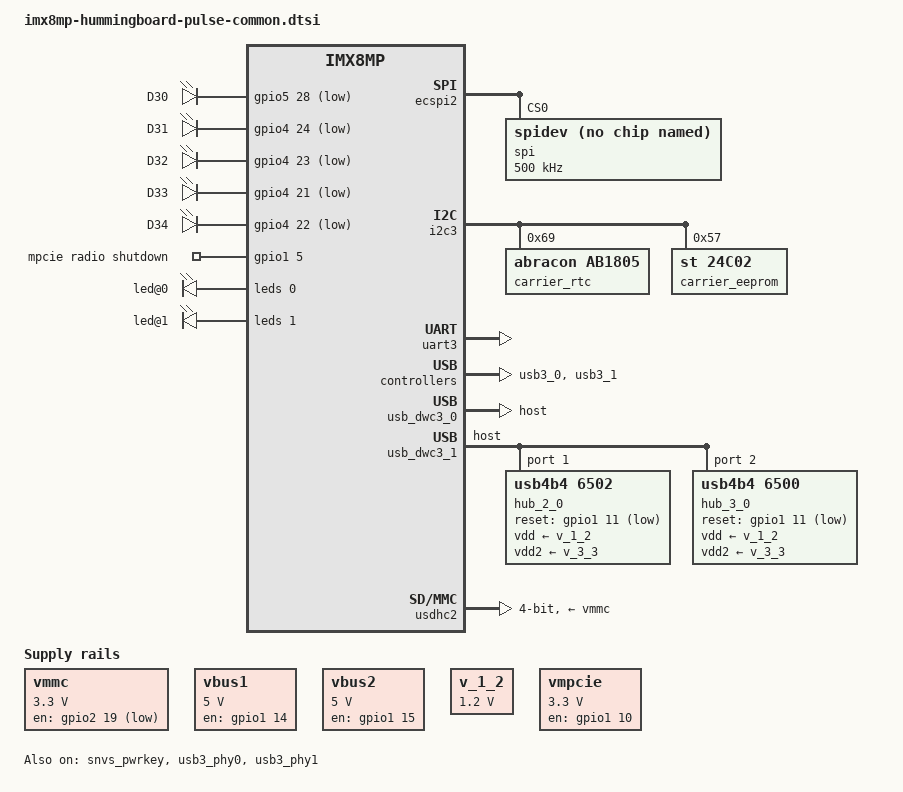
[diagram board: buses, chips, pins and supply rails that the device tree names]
// SPDX-License-Identifier: (GPL-2.0+ OR MIT)
/*
 * Copyright 2025 Josua Mayer <josua@solid-run.com>
 */

#include <dt-bindings/leds/common.h>

/ {
	aliases {
		rtc0 = <&carrier_rtc>;
		rtc1 = <&snvs_rtc>;
	};

	leds {
		compatible = "gpio-leds";
		pinctrl-names = "default";
		pinctrl-0 = <&led_pins>;

		d30 {
			label = "D30";
			colour = "green";
			gpios = <&gpio5 28 GPIO_ACTIVE_LOW>;
			default-state = "on";
		};

		d31 {
			label = "D31";
			colour = "green";
			gpios = <&gpio4 24 GPIO_ACTIVE_LOW>;
			default-state = "on";
		};

		d32 {
			label = "D32";
			colour = "green";
			gpios = <&gpio4 23 GPIO_ACTIVE_LOW>;
			default-state = "on";
		};

		d33 {
			label = "D33";
			colour = "green";
			gpios = <&gpio4 21 GPIO_ACTIVE_LOW>;
			default-state = "on";
		};

		d34 {
			label = "D34";
			colour = "green";
			gpios = <&gpio4 22 GPIO_ACTIVE_LOW>;
			default-state = "on";
		};
	};

        rfkill-mpcie-wifi {
		/*
		 * The mpcie connector only has USB,
		 * therefore this rfkill is for cellular radios only.
		 */
		compatible = "rfkill-gpio";
		pinctrl-names = "default";
		pinctrl-0 = <&pcie_rfkill_pins>;
		label = "mpcie radio";
		radio-type = "wwan";
		/* rfkill-gpio inverts internally */
		shutdown-gpios = <&gpio1 5 GPIO_ACTIVE_HIGH>;
	};

	vmmc: regulator-mmc {
		compatible = "regulator-fixed";
		pinctrl-names = "default";
		pinctrl-0 = <&vmmc_pins>;
		regulator-name = "vmmc";
		regulator-min-microvolt = <3300000>;
		regulator-max-microvolt = <3300000>;
		gpio = <&gpio2 19 GPIO_ACTIVE_HIGH>;
		startup-delay-us = <250>;
	};

	vbus1: regulator-vbus-1 {
		compatible = "regulator-fixed";
		regulator-name = "vbus1";
		gpio = <&gpio1 14 GPIO_ACTIVE_HIGH>;
		enable-active-high;
		pinctrl-names = "default";
		pinctrl-0 = <&vbus1_pins>;
		regulator-min-microvolt = <5000000>;
		regulator-max-microvolt = <5000000>;
	};

	vbus2: regulator-vbus-2 {
		compatible = "regulator-fixed";
		regulator-name = "vbus2";
		gpio = <&gpio1 15 GPIO_ACTIVE_HIGH>;
		enable-active-high;
		pinctrl-names = "default";
		pinctrl-0 = <&vbus2_pins>;
		regulator-min-microvolt = <5000000>;
		regulator-max-microvolt = <5000000>;
	};

	v_1_2: regulator-1-2 {
		compatible = "regulator-fixed";
		regulator-name = "1v2";
		regulator-min-microvolt = <1200000>;
		regulator-max-microvolt = <1200000>;
	};

	vmpcie {
		/* supplies mpcie and m2 connectors */
		compatible = "regulator-fixed";
		regulator-name = "vmpcie";
		gpio = <&gpio1 10 GPIO_ACTIVE_HIGH>;
		enable-active-high;
		pinctrl-names = "default";
		pinctrl-0 = <&vmpcie_pins>;
		regulator-min-microvolt = <3300000>;
		regulator-max-microvolt = <3300000>;
		regulator-always-on;
	};
};

/* mikrobus spi */
&ecspi2 {
	fsl,spi-num-chipselects = <1>;
	pinctrl-names = "default";
	pinctrl-0 = <&mikro_spi_pins>;
	status = "okay";

	spi@0 {
		reg = <0>;
		compatible = "rohm,dh2228fv";
		spi-max-frequency = <500000>;
	};
};

&gpio2 {
	status = "okay";
};

&i2c3 {
	carrier_rtc: rtc@69 {
		compatible = "abracon,ab1805";
		reg = <0x69>;
		abracon,tc-diode = "schottky";
		abracon,tc-resistor = <3>;
	};

	carrier_eeprom: eeprom@57{
		compatible = "st,24c02", "atmel,24c02";
		reg = <0x57>;
		pagesize = <16>;
	};
};

&iomuxc {
	csi_pins: csi-pins {
		fsl,pins = <
			/*
			 * Pin 18: FREX: shared with hdmi bridge
			 * MX8MP_IOMUXC_GPIO1_IO08__GPIO1_IO08		0x0
			 */
			/* Pin 24: STROBE */
			MX8MP_IOMUXC_NAND_DATA01__GPIO3_IO07		0x0
		>;
	};

	mikro_int_pins: mikro-int-pins {
		fsl,pins = <
			MX8MP_IOMUXC_ECSPI1_SS0__GPIO5_IO09		0x0
		>;
	};

	mikro_pwm_pins: mikro-pwm-pins {
		fsl,pins = <
			MX8MP_IOMUXC_ECSPI1_MISO__GPIO5_IO08		0x0
		>;
	};

	mikro_rst_pins: mikro-rst-pins {
		fsl,pins = <
			MX8MP_IOMUXC_SAI3_RXD__GPIO4_IO30		0x0
		>;
	};

	mikro_spi_pins: mikro-spi-pins {
		fsl,pins = <
			MX8MP_IOMUXC_ECSPI2_SS0__ECSPI2_SS0		0x40000
			MX8MP_IOMUXC_ECSPI2_SCLK__ECSPI2_SCLK		0x82
			MX8MP_IOMUXC_ECSPI2_MISO__ECSPI2_MISO		0x82
			MX8MP_IOMUXC_ECSPI2_MOSI__ECSPI2_MOSI		0x82
		>;
	};

	mikro_uart_pins: mikro-uart-pins {
		fsl,pins = <
			MX8MP_IOMUXC_ECSPI1_SCLK__UART3_DCE_RX		0x140
			MX8MP_IOMUXC_ECSPI1_MOSI__UART3_DCE_TX		0x140
		>;
	};

	led_pins: led-pins {
		fsl,pins = <
			MX8MP_IOMUXC_SAI2_RXC__GPIO4_IO22		0x0
			MX8MP_IOMUXC_SAI2_RXFS__GPIO4_IO21		0x0
			MX8MP_IOMUXC_SAI2_RXD0__GPIO4_IO23		0x0
			MX8MP_IOMUXC_SAI2_TXFS__GPIO4_IO24		0x0
			MX8MP_IOMUXC_UART4_RXD__GPIO5_IO28		0x0
		>;
	};

	pcie_pins: pcie-pins {
		fsl,pins = <
			MX8MP_IOMUXC_GPIO1_IO01__GPIO1_IO01		0x0
		>;
	};

	pcie_rfkill_pins: pcie-rfkill-pins {
		fsl,pins = <
			MX8MP_IOMUXC_GPIO1_IO05__GPIO1_IO05		0x0
		>;
	};

	usb_hub_pins: usb-hub-pins {
		fsl,pins = <
			MX8MP_IOMUXC_GPIO1_IO11__GPIO1_IO11		0x0
		>;
	};

	usdhc2_pins: usdhc2-pins {
		fsl,pins = <
			MX8MP_IOMUXC_SD2_CLK__USDHC2_CLK		0x190
			MX8MP_IOMUXC_SD2_CMD__USDHC2_CMD		0x1d0
			MX8MP_IOMUXC_SD2_DATA0__USDHC2_DATA0		0x1d0
			MX8MP_IOMUXC_SD2_DATA1__USDHC2_DATA1		0x1d0
			MX8MP_IOMUXC_SD2_DATA2__USDHC2_DATA2		0x1d0
			MX8MP_IOMUXC_SD2_DATA3__USDHC2_DATA3		0x1d0
			MX8MP_IOMUXC_GPIO1_IO04__USDHC2_VSELECT		0x140
			MX8MP_IOMUXC_SD2_CD_B__USDHC2_CD_B		0x140
		>;
	};

	usdhc2_100mhz_pins: usdhc2-100mhz-pins {
		fsl,pins = <
			MX8MP_IOMUXC_SD2_CLK__USDHC2_CLK		0x194
			MX8MP_IOMUXC_SD2_CMD__USDHC2_CMD		0x1d4
			MX8MP_IOMUXC_SD2_DATA0__USDHC2_DATA0		0x1d4
			MX8MP_IOMUXC_SD2_DATA1__USDHC2_DATA1		0x1d4
			MX8MP_IOMUXC_SD2_DATA2__USDHC2_DATA2		0x1d4
			MX8MP_IOMUXC_SD2_DATA3__USDHC2_DATA3		0x1d4
			MX8MP_IOMUXC_GPIO1_IO04__USDHC2_VSELECT 	0x140
			MX8MP_IOMUXC_SD2_CD_B__USDHC2_CD_B		0x140
		>;
	};

	usdhc2_200mhz_pins: usdhc2-200mhz-pins {
		fsl,pins = <
			MX8MP_IOMUXC_SD2_CLK__USDHC2_CLK		0x196
			MX8MP_IOMUXC_SD2_CMD__USDHC2_CMD		0x1d6
			MX8MP_IOMUXC_SD2_DATA0__USDHC2_DATA0		0x1d6
			MX8MP_IOMUXC_SD2_DATA1__USDHC2_DATA1		0x1d6
			MX8MP_IOMUXC_SD2_DATA2__USDHC2_DATA2		0x1d6
			MX8MP_IOMUXC_SD2_DATA3__USDHC2_DATA3		0x1d6
			MX8MP_IOMUXC_GPIO1_IO04__USDHC2_VSELECT		0x140
			MX8MP_IOMUXC_SD2_CD_B__USDHC2_CD_B		0x140
		>;
	};

	vbus1_pins: vbus-1-pins {
		fsl,pins = <
			MX8MP_IOMUXC_GPIO1_IO14__GPIO1_IO14		0x20
		>;
	};

	vbus2_pins: vbus-2-pins {
		fsl,pins = <
			MX8MP_IOMUXC_GPIO1_IO15__GPIO1_IO15		0x20
		>;
	};

	vmmc_pins: vmmc-pins {
		fsl,pins = <
			MX8MP_IOMUXC_SD2_RESET_B__GPIO2_IO19		0x41
		>;
	};

	vmpcie_pins: vmpcie-pins {
		fsl,pins = <
			MX8MP_IOMUXC_GPIO1_IO10__GPIO1_IO10		0x0
		>;
	};
};

&phy0 {
	leds {
		#address-cells = <1>;
		#size-cells = <0>;

		/* ADIN1300 LED_0 pin */
		led@0 {
			reg = <0>;
			color = <LED_COLOR_ID_ORANGE>;
			function = LED_FUNCTION_LAN;
			default-state = "keep";
		};

		/* ADIN1300 LINK_ST pin */
		led@1 {
			reg = <1>;
			color = <LED_COLOR_ID_GREEN>;
			function = LED_FUNCTION_LAN;
			default-state = "keep";
		};
	};
};

&sdma2 {
	status = "okay";
};

&snvs_pwrkey {
	status = "okay";
};

/* mikrobus uart */
&uart3 {
	status = "okay";
};

&usb3_phy0 {
	fsl,phy-tx-preemp-amp-tune-microamp = <1200>;
	vbus-supply = <&vbus2>;
	status = "okay";
};

&usb3_0 {
	status = "okay";
};

&usb3_phy1 {
	vbus-supply = <&vbus1>;
	status = "okay";
};

&usb3_1 {
	status = "okay";
};

&usb_dwc3_0 {
	dr_mode = "host";
};

&usb_dwc3_1 {
	dr_mode = "host";
	#address-cells = <1>;
	#size-cells = <0>;
	pinctrl-names = "default";
	pinctrl-0 = <&usb_hub_pins>;

	hub_2_0: hub@1 {
		compatible = "usb4b4,6502";
		reg = <1>;
		peer-hub = <&hub_3_0>;
		reset-gpios = <&gpio1 11 GPIO_ACTIVE_LOW>;
		vdd-supply = <&v_1_2>;
		vdd2-supply = <&v_3_3>;
	};

	hub_3_0: hub@2 {
		compatible = "usb4b4,6500";
		reg = <2>;
		peer-hub = <&hub_2_0>;
		reset-gpios = <&gpio1 11 GPIO_ACTIVE_LOW>;
		vdd-supply = <&v_1_2>;
		vdd2-supply = <&v_3_3>;
	};
};

&usdhc2 {
	pinctrl-names = "default", "state_100mhz", "state_200mhz";
	pinctrl-0 = <&usdhc2_pins>;
	pinctrl-1 = <&usdhc2_100mhz_pins>;
	pinctrl-2 = <&usdhc2_200mhz_pins>;
	vmmc-supply = <&vmmc>;
	bus-width = <4>;
	cap-power-off-card;
	full-pwr-cycle;
	status = "okay";
};
